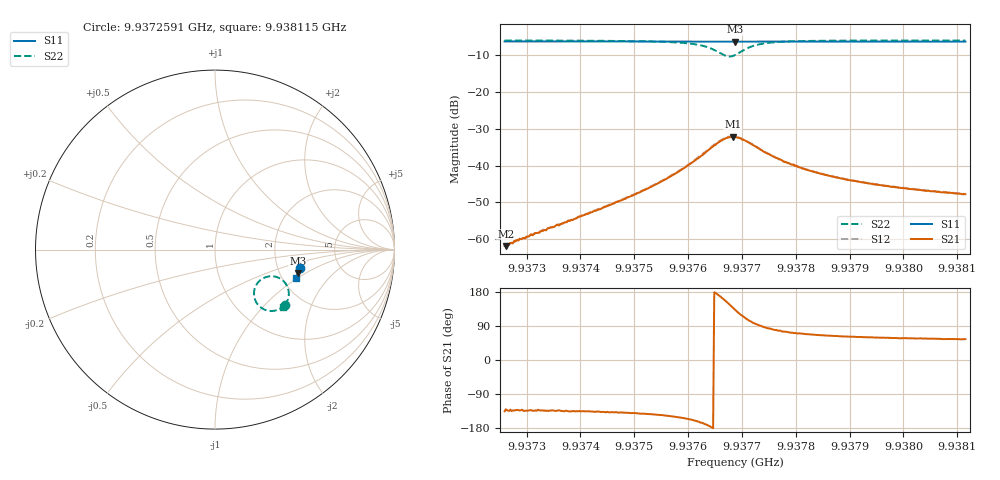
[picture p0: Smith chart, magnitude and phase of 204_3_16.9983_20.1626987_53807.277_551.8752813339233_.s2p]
#  HZ  S  RI  R  50.00
! Rohde & Schwarz Vector Network Analyzer
! Rohde-Schwarz,ZNB20-2Port,1311601062101988,3.16
! Created: UTC 3/20/2024, 11:01:12 PM
! freq[Hz]  re:S11  im:S11  re:S21  im:S21  re:S12  im:S12  re:S22  im:S22
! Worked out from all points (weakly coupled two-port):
!   401 points, 9.9372591 GHz to 9.938115 GHz, reference 50 ohm
!   highest |S21| = -32.19 dB at 9.9376828 GHz (marker M1); lowest = -61.8 dB at 9.9372612 GHz (marker M2)
!   lowest |S11| = -6.4 dB at 9.9376871 GHz (marker M3), VSWR 2.84, Z = 125 - j42.4 ohm
!   |S11| at or under -10 dB: nowhere
!   |S22| runs from -10.4 to -6.1 dB; largest |S21 - S12| = 0.0011
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9.93725909e9  0.4723 -0.104  -0.000579 -0.000574  -0.000585 -0.000557  0.3913 -0.3076
9.93726123e9  0.4723 -0.104  -0.000522 -0.000621  -0.000561 -0.000596  0.3911 -0.3078
9.93728263e9  0.4718 -0.1056  -0.000661 -0.000729  -0.000681 -0.000714  0.3894 -0.3096
9.93740246e9  0.4695 -0.1136  -0.00149 -0.00149  -0.00149 -0.00146  0.3762 -0.3206
9.9374795e9  0.4678 -0.1188  -0.0026 -0.00229  -0.00269 -0.00229  0.3625 -0.3295
9.93754583e9  0.466 -0.1234  -0.00479 -0.00339  -0.0049 -0.00333  0.3406 -0.3385
9.93759077e9  0.4648 -0.1266  -0.00809 -0.0041  -0.00835 -0.00404  0.3105 -0.342
9.93763143e9  0.4631 -0.129  -0.0145 -0.00269  -0.015 -0.00255  0.2576 -0.3239
9.93764855e9  0.4622 -0.13  -0.0189 0.000508  -0.0192 0.00103  0.2291 -0.2916
9.93766353e9  0.4614 -0.1303  -0.0214 0.00638  -0.0215 0.00725  0.2173 -0.2404
9.93767422e9  0.461 -0.1304  -0.0208 0.012  -0.0208 0.013  0.2306 -0.1961
9.93768278e9  0.4611 -0.1304  -0.0185 0.0162  -0.0182 0.0173  0.2566 -0.1671
9.93768706e9  0.461 -0.1302  -0.0166 0.0178  -0.0162 0.0187  0.2731 -0.1573
9.93769776e9  0.4613 -0.1308  -0.0114 0.0204  -0.0109 0.0208  0.3166 -0.1484
9.9377106e9  0.4619 -0.1314  -0.00595 0.0201  -0.0055 0.0204  0.3591 -0.1595
9.93773628e9  0.462 -0.1334  0.000273 0.0163  0.000765 0.0162  0.4001 -0.2005
9.93777266e9  0.4615 -0.1362  0.00283 0.0116  0.00313 0.0114  0.4113 -0.2426
9.9378069e9  0.4609 -0.1388  0.00312 0.00891  0.00337 0.0089  0.4094 -0.2655
9.93783043e9  0.4604 -0.1405  0.00324 0.0077  0.00345 0.00769  0.4067 -0.2761
9.93789463e9  0.4588 -0.1448  0.00304 0.00568  0.00317 0.00574  0.3992 -0.2944
9.9379738e9  0.4569 -0.1501  0.00276 0.00445  0.00284 0.00444  0.3911 -0.3077
9.93811503e9  0.4531 -0.1592  0.00235 0.00336  0.00246 0.00333  0.3796 -0.3226
